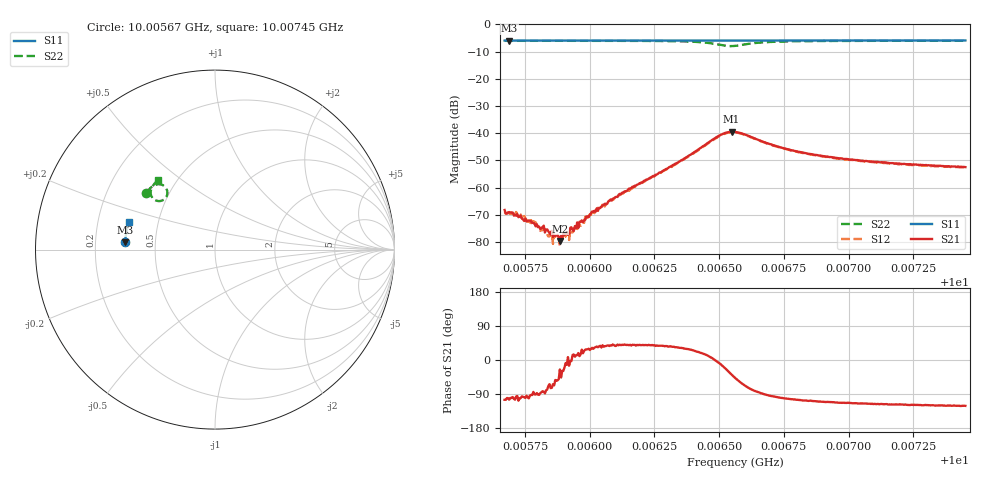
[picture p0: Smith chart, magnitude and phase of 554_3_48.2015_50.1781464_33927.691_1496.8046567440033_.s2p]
#  HZ  S  RI  R  50.00
! Rohde & Schwarz Vector Network Analyzer
! Rohde-Schwarz,ZNB20-2Port,1311601062101988,3.16
! Created: UTC 3/20/2024, 12:00:55 PM
! freq[Hz]  re:S11  im:S11  re:S21  im:S21  re:S12  im:S12  re:S22  im:S22
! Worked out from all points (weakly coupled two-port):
!   401 points, 10.00567 GHz to 10.00745 GHz, reference 50 ohm
!   highest |S21| = -39.45 dB at 10.00655 GHz (marker M1); lowest = -79.6 dB at 10.00588 GHz (marker M2)
!   lowest |S11| = -6.0 dB at 10.00569 GHz (marker M3), VSWR 3.01, Z = 16.6 + j1.82 ohm
!   |S11| at or under -10 dB: nowhere
!   |S22| runs from -8.0 to -6.0 dB; largest |S21 - S12| = 0.00072
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1.0005671e10  -0.5001 0.0401  -0.000101 -0.000377  -6.83e-05 -0.000352  -0.3835 0.3163
1.0005689e10  -0.5 0.041  -9.05e-05 -0.000345  -5.37e-05 -0.000336  -0.3827 0.3174
1.0005715e10  -0.4999 0.0428  -3.32e-05 -0.000305  -2.47e-05 -0.000357  -0.3814 0.3189
1.0005782e10  -0.4996 0.0473  2.24e-05 -0.000224  -5.14e-06 -0.000242  -0.3781 0.3231
1.0005809e10  -0.4995 0.049  8.36e-06 -0.000174  4.26e-05 -0.000156  -0.3768 0.3247
1.0005822e10  -0.4995 0.0499  2.29e-05 -0.0002  6.46e-05 -0.000166  -0.3762 0.3256
1.0005849e10  -0.4994 0.0515  3.79e-05 -0.000133  8.12e-05 -0.00013  -0.3746 0.3272
1.0005885e10  -0.4993 0.0539  9.53e-05 -4.44e-05  7.25e-05 -4.34e-05  -0.3727 0.3295
1.0005893e10  -0.4992 0.0545  0.000101 -5.53e-05  0.000116 -4.01e-05  -0.3723 0.3301
1.0005925e10  -0.4989 0.0565  0.000184 -7.83e-06  0.000168 -4.67e-06  -0.3706 0.332
1.0005969e10  -0.4987 0.0594  0.000223 0.000115  0.000191 0.000111  -0.368 0.335
1.0006005e10  -0.4984 0.0616  0.000294 0.000166  0.000265 0.000182  -0.3656 0.3374
1.000604e10  -0.4984 0.064  0.000335 0.000259  0.000369 0.000243  -0.3633 0.3397
1.0006121e10  -0.4978 0.0693  0.000584 0.000475  0.000571 0.000516  -0.3572 0.3454
1.0006267e10  -0.4964 0.0787  0.00149 0.00115  0.00139 0.00116  -0.3414 0.3567
1.0006499e10  -0.4936 0.0937  0.00891 -0.00121  0.00871 -0.000666  -0.2667 0.3292
1.0006548e10  -0.4931 0.0962  0.00833 -0.00663  0.0086 -0.00597  -0.2813 0.2815
1.0006561e10  -0.4929 0.0967  0.00723 -0.00777  0.0075 -0.0072  -0.2938 0.2738
1.0006726e10  -0.4919 0.1073  -0.000812 -0.00565  -0.00055 -0.00559  -0.3587 0.319
1.000686e10  -0.4905 0.1157  -0.00128 -0.0039  -0.0011 -0.00387  -0.3531 0.343
1.0007158e10  -0.4863 0.1347  -0.00129 -0.00251  -0.00114 -0.00254  -0.3361 0.3688
1.0007452e10  -0.4814 0.1532  -0.00123 -0.00205  -0.00111 -0.00207  -0.3202 0.3857
